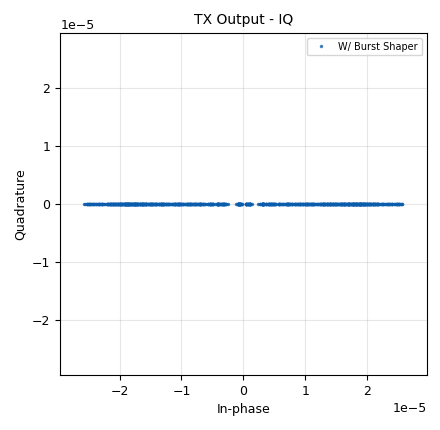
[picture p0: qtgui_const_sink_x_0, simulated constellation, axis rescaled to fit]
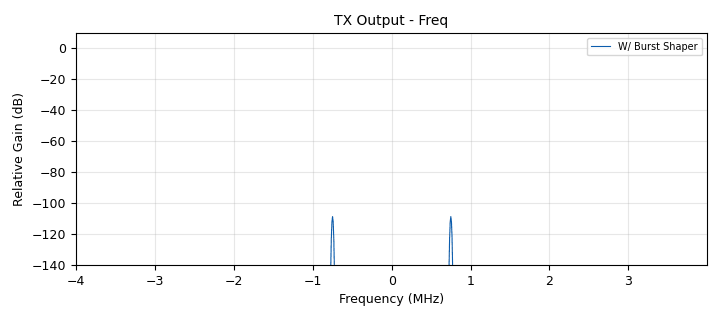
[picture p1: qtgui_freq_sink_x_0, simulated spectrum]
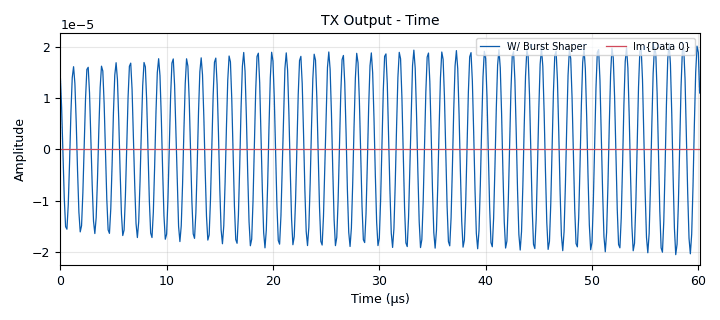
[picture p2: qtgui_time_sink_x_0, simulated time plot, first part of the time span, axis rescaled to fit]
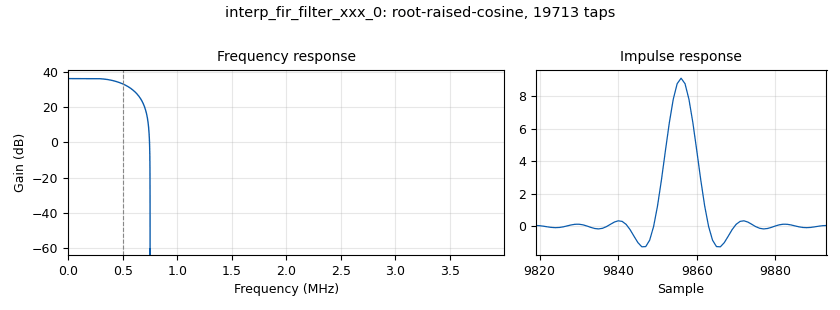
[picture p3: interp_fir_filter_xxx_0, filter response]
options:
  parameters:
    generate_options: qt_gui
    id: BPSK_TX
    output_language: python
    title: BPSK TX
  states: {}

blocks:
- name: bpsk_const
  id: variable_constellation
  parameters:
    precision: '8'
    type: bpsk
  states: {}
- name: bpsk_constellation
  id: variable_constellation
  parameters:
    precision: '8'
    type: bpsk
  states: {}
- name: cos_freq
  id: variable_qtgui_range
  parameters:
    gui_hint: 0,3
    label: cos freq
    min_len: '100'
    start: 100e3
    step: 1e3
    stop: 700e3
    value: 100e3
  states: {state: disabled}
- name: hdr_format
  id: variable_header_format_default
  parameters:
    access_code: '''10101010111101010101'''
    bps: '1'
    threshold: '3'
  states: {}
- name: nfilts
  id: variable
  parameters:
    value: '64'
  states: {}
- name: rrc_filter_taps
  id: variable_rrc_filter_taps
  parameters:
    alpha: '0.5'
    gain: nfilts
    ntaps: 11*(sps+20)*nfilts
    samp_rate: samp_rate
    sym_rate: samp_rate/sps
  states: {}
- name: samp_rate
  id: variable
  parameters:
    value: 8e6
  states: {}
- name: sps
  id: variable
  parameters:
    value: '8'
  states: {}
- name: tx_freq
  id: variable
  parameters:
    value: 915e6
  states: {}
- name: tx_gain
  id: variable_qtgui_range
  parameters:
    gui_hint: 0,1
    label: tx gain
    min_len: '2'
    rangeType: int
    start: '0'
    step: '14'
    stop: '14'
    value: '14'
    widget: counter
  states: {}
- name: tx_lna
  id: variable_qtgui_range
  parameters:
    gui_hint: 0,0
    label: TX LNA
    min_len: '47'
    rangeType: int
    start: '0'
    step: '1'
    stop: '47'
    value: '32'
  states: {}
- name: blocks_message_debug_0
  id: blocks_message_debug
  parameters: {}
  states: {state: disabled}
- name: blocks_message_strobe_0
  id: blocks_message_strobe
  parameters:
    msg: pmt.intern("TEST")
    period: '1000'
  states: {}
- name: blocks_multiply_const_vxx_0
  id: blocks_multiply_const_vxx
  parameters:
    const: '.4'
    type: complex
  states: {}
- name: blocks_multiply_const_vxx_0_0
  id: blocks_multiply_const_vxx
  parameters:
    const: '1'
    type: complex
  states: {state: disabled}
- name: blocks_repack_bits_bb_0
  id: blocks_repack_bits_bb
  parameters:
    endianness: gr.GR_LSB_FIRST
    k: '8'
    l: '1'
    len_tag_key: '"packet_len"'
  states: {}
- name: blocks_tag_debug_0
  id: blocks_tag_debug
  parameters:
    filter: '"packet_len"'
    name: Packet Len
    type: complex
  states: {}
- name: blocks_tagged_stream_mux_0
  id: blocks_tagged_stream_mux
  parameters:
    lengthtagname: packet_len
    ninputs: '2'
    type: byte
  states: {}
- name: digital_burst_shaper_xx_0
  id: digital_burst_shaper_xx
  parameters:
    insert_phasing: 'False'
    length_tag_name: '"packet_len"'
    post_padding: '0'
    pre_padding: '0'
    type: complex
    window: firdes.window(window.WIN_HANN, 20, 0)
  states: {}
- name: digital_chunks_to_symbols_xx_0
  id: digital_chunks_to_symbols_xx
  parameters:
    dimension: '1'
    in_type: byte
    out_type: complex
    symbol_table: bpsk_const.points()
  states: {}
- name: digital_crc_append_0
  id: digital_crc_append
  parameters:
    poly: '0x4C11DB7'
  states: {}
- name: digital_protocol_formatter_async_0
  id: digital_protocol_formatter_async
  parameters:
    format: hdr_format
  states: {}
- name: epy_block_2
  id: epy_block
  parameters:
    _source_code: |
      """
      Embedded Python Blocks:

      Each time this file is saved, GRC will instantiate the first class it finds
      to get ports and parameters of your block. The arguments to __init__  will
      be the parameters. All of them are required to have default values!
      """

      import numpy as np
      from gnuradio import gr
      import pmt


      class blk(gr.sync_block):  # other base classes are basic_block, decim_block, interp_block
          """Embedded Python Block example - a simple multiply const"""

          def __init__(self):  # only default arguments here
              """arguments to this function show up as parameters in GRC"""
              gr.sync_block.__init__(
                  self,
                  name='MSG2U8_Vector',   # will show up in GRC
                  in_sig= None,
                  out_sig= None
              )
              # if an attribute with the same name as a parameter is found,
              # a callback is registered (properties work, too).
              self.message_port_register_in(pmt.intern('PDU_in'))
              self.message_port_register_out(pmt.intern('PDU_out'))
              self.set_msg_handler(pmt.intern('PDU_in'),self.handle_msg)
              
          def handle_msg(self, msg):
              #Get msg
              payload = pmt.to_python(msg)
              
              #print(f"Payload: {payload}\n Payload type: {type(payload)}")
              
              payload = np.fromstring(payload[1], dtype=np.uint8)
              print(f"Payload: {payload}")

           
              #Create PMT u8vector
              pmt_out = pmt.cons(pmt.PMT_NIL, pmt.init_u8vector(len(payload), payload))
              self.message_port_pub(pmt.intern('PDU_out'), pmt_out)
  states: {}
- name: import_0
  id: import
  parameters:
    imports: import numpy as np
  states: {}
- name: interp_fir_filter_xxx_0
  id: interp_fir_filter_xxx
  parameters:
    interp: sps
    taps: rrc_filter_taps
    type: ccc
  states: {}
- name: interp_fir_filter_xxx_0_0
  id: interp_fir_filter_xxx
  parameters:
    interp: sps
    taps: rrc_filter_taps
    type: ccc
  states: {state: disabled}
- name: pdu_pdu_to_tagged_stream_0
  id: pdu_pdu_to_tagged_stream
  parameters:
    tag: packet_len
    type: byte
  states: {}
- name: pdu_pdu_to_tagged_stream_0_0
  id: pdu_pdu_to_tagged_stream
  parameters:
    tag: packet_len
    type: byte
  states: {}
- name: qtgui_const_sink_x_0
  id: qtgui_const_sink_x
  parameters:
    gui_hint: 1,2
    label1: W/ Burst Shaper
    name: '"TX Output - IQ"'
    size: '1024'
    type: complex
  states: {}
- name: qtgui_edit_box_msg_0
  id: qtgui_edit_box_msg
  parameters:
    key: Payload
    label: Payload
    type: string
    value: '"Hello World!!!!!!!!!!!!!!!!!!!!!!!!!!!!!!!!!!!!!!!!!!!!!!!!!!!!!!!!!!!!!!!!!!AAAAAAAAAAAAAAAAAAAAA"'
  states: {}
- name: qtgui_freq_sink_x_0
  id: qtgui_freq_sink_x
  parameters:
    bw: samp_rate
    fc: '0'
    fftsize: '1024'
    gui_hint: 1,0
    label1: W/ Burst Shaper
    name: '"TX Output - Freq"'
    type: complex
  states: {}
- name: qtgui_time_sink_x_0
  id: qtgui_time_sink_x
  parameters:
    gui_hint: 1,1
    label1: W/ Burst Shaper
    name: '"TX Output - Time"'
    size: '1024'
    srate: samp_rate
    type: complex
  states: {}
- name: soapy_hackrf_sink_0
  id: soapy_hackrf_sink
  parameters:
    amp: tx_gain
    bandwidth: '1.75'
    center_freq: tx_freq
    dev_args: '"serial=000000000000000087c867dc2917445f"'
    samp_rate: samp_rate
    type: fc32
    vga: tx_lna
  states: {}
- name: virtual_sink_0
  id: virtual_sink
  parameters:
    stream_id: muxed_bytes
  states: {}
- name: virtual_source_0
  id: virtual_source
  parameters:
    stream_id: muxed_bytes
  states: {}

connections:
- [blocks_message_strobe_0, strobe, epy_block_2, PDU_in]
- [blocks_multiply_const_vxx_0, '0', qtgui_const_sink_x_0, '0']
- [blocks_multiply_const_vxx_0, '0', qtgui_freq_sink_x_0, '0']
- [blocks_multiply_const_vxx_0, '0', qtgui_time_sink_x_0, '0']
- [blocks_multiply_const_vxx_0, '0', soapy_hackrf_sink_0, '0']
- [blocks_repack_bits_bb_0, '0', digital_chunks_to_symbols_xx_0, '0']
- [blocks_tagged_stream_mux_0, '0', virtual_sink_0, '0']
- [digital_burst_shaper_xx_0, '0', blocks_multiply_const_vxx_0_0, '0']
- [digital_burst_shaper_xx_0, '0', interp_fir_filter_xxx_0, '0']
- [digital_chunks_to_symbols_xx_0, '0', blocks_tag_debug_0, '0']
- [digital_chunks_to_symbols_xx_0, '0', digital_burst_shaper_xx_0, '0']
- [digital_crc_append_0, out, digital_protocol_formatter_async_0, in]
- [digital_protocol_formatter_async_0, header, pdu_pdu_to_tagged_stream_0, pdus]
- [digital_protocol_formatter_async_0, payload, pdu_pdu_to_tagged_stream_0_0, pdus]
- [epy_block_2, PDU_out, digital_crc_append_0, in]
- [interp_fir_filter_xxx_0, '0', blocks_multiply_const_vxx_0, '0']
- [interp_fir_filter_xxx_0_0, '0', blocks_multiply_const_vxx_0_0, '0']
- [pdu_pdu_to_tagged_stream_0, '0', blocks_tagged_stream_mux_0, '0']
- [pdu_pdu_to_tagged_stream_0_0, '0', blocks_tagged_stream_mux_0, '1']
- [qtgui_edit_box_msg_0, msg, blocks_message_strobe_0, set_msg]
- [virtual_source_0, '0', blocks_repack_bits_bb_0, '0']

metadata:
  file_format: 1
  grc_version: v3.11.0.0git-843-g6b25c171
